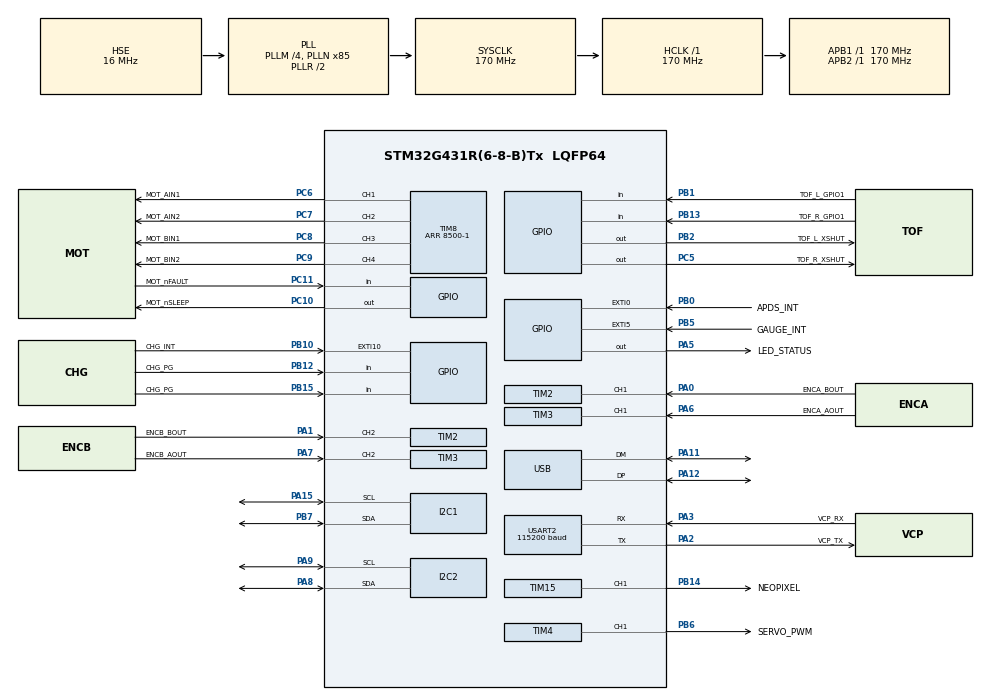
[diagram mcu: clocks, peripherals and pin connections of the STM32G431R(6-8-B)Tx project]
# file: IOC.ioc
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Dma.Request0=TIM15_CH1
Dma.TIM15_CH1.0.Direction=DMA_MEMORY_TO_PERIPH
Dma.TIM15_CH1.0.EventEnable=DISABLE
Dma.TIM15_CH1.0.Instance=DMA1_Channel1
Dma.TIM15_CH1.0.MemDataAlignment=DMA_MDATAALIGN_HALFWORD
Dma.TIM15_CH1.0.MemInc=DMA_MINC_ENABLE
Dma.TIM15_CH1.0.Mode=DMA_NORMAL
Dma.TIM15_CH1.0.PeriphDataAlignment=DMA_PDATAALIGN_HALFWORD
Dma.TIM15_CH1.0.PeriphInc=DMA_PINC_DISABLE
Dma.TIM15_CH1.0.Polarity=HAL_DMAMUX_REQ_GEN_RISING
Dma.TIM15_CH1.0.Priority=DMA_PRIORITY_LOW
Dma.TIM15_CH1.0.RequestNumber=1
Dma.TIM15_CH1.0.SignalID=NONE
Dma.TIM15_CH1.0.SyncEnable=DISABLE
Dma.TIM15_CH1.0.SyncPolarity=HAL_DMAMUX_SYNC_NO_EVENT
Dma.TIM15_CH1.0.SyncRequestNumber=1
Dma.TIM15_CH1.0.SyncSignalID=NONE
I2C1.Timing=0x40B285C2
I2C2.Timing=0x40B285C2
Mcu.Family=STM32G4
Mcu.Name=STM32G431R(6-8-B)Tx
Mcu.Package=LQFP64
NUCLEO-G431RB.BUTTON=0
NUCLEO-G431RB.LD1=false
NUCLEO-G431RB.VCP=false
NVIC.DMA1_Channel1_IRQn=true\:0\:0\:false\:false\:true\:false\:true\:true
NVIC.EXTI15_10_IRQn=true\:0\:0\:false\:false\:true\:false\:true\:true
NVIC.PriorityGroup=NVIC_PRIORITYGROUP_4
PA0.GPIO_Label=ENCA_BOUT
PA0.Signal=S_TIM2_CH1
PA1.GPIO_Label=ENCB_BOUT
PA1.Signal=S_TIM2_CH2
PA11.Mode=Device
PA11.Signal=USB_DM
PA12.Mode=Device
PA12.Signal=USB_DP
PA13.GPIO_Label=T_SWDIO
PA13.Mode=Trace_Asynchronous_SW
PA13.Signal=SYS_JTMS-SWDIO
PA14.GPIO_Label=T_SWCLK
PA14.Mode=Trace_Asynchronous_SW
PA14.Signal=SYS_JTCK-SWCLK
PA15.Mode=I2C
PA15.Signal=I2C1_SCL
PA2.GPIO_Label=VCP_TX
PA2.Mode=Asynchronous
PA2.Signal=USART2_TX
PA3.GPIO_Label=VCP_RX
PA3.Mode=Asynchronous
PA3.Signal=USART2_RX
PA5.GPIO_Label=LED_STATUS
PA5.Signal=GPIO_Output
PA6.GPIO_Label=ENCA_AOUT
PA6.Signal=S_TIM3_CH1
PA7.GPIO_Label=ENCB_AOUT
PA7.Signal=S_TIM3_CH2
PA8.Mode=I2C
PA8.Signal=I2C2_SDA
PA9.Mode=I2C
PA9.Signal=I2C2_SCL
PB0.GPIO_Label=APDS_INT
PB0.Signal=GPXTI0
PB1.GPIO_Label=TOF_L_GPIO1
PB1.Signal=GPIO_Input
PB10.GPIO_Label=CHG_INT
PB10.Signal=GPXTI10
PB12.GPIO_Label=CHG_PG
PB12.Signal=GPIO_Input
PB13.GPIO_Label=TOF_R_GPIO1
PB13.Signal=GPIO_Input
PB14.GPIO_Label=NEOPIXEL
PB14.Signal=S_TIM15_CH1
PB15.GPIO_Label=CHG_PG
PB15.Signal=GPIO_Input
PB2.GPIO_Label=TOF_L_XSHUT
PB2.Signal=GPIO_Output
PB3.GPIO_Label=T_SWO
PB3.Mode=Trace_Asynchronous_SW
PB3.Signal=SYS_JTDO-SWO
PB5.GPIO_Label=GAUGE_INT
PB5.Signal=GPXTI5
PB6.GPIO_Label=SERVO_PWM
PB6.Signal=S_TIM4_CH1
PB7.Mode=I2C
PB7.Signal=I2C1_SDA
PC10.GPIO_Label=MOT_nSLEEP
PC10.Signal=GPIO_Output
PC11.GPIO_Label=MOT_nFAULT
PC11.Signal=GPIO_Input
PC5.GPIO_Label=TOF_R_XSHUT
PC5.Signal=GPIO_Output
PC6.GPIO_Label=MOT_AIN1
PC6.Signal=S_TIM8_CH1
PC7.GPIO_Label=MOT_AIN2
PC7.Signal=S_TIM8_CH2
PC8.GPIO_Label=MOT_BIN1
PC8.Signal=S_TIM8_CH3
PC9.GPIO_Label=MOT_BIN2
PC9.Signal=S_TIM8_CH4
PF0-OSC_IN.GPIO_Label=RCC_OSC_IN
PF0-OSC_IN.Mode=HSE-External-Oscillator
PF0-OSC_IN.Signal=RCC_OSC_IN
PF1-OSC_OUT.GPIO_Label=RCC_OSC_OUT
PF1-OSC_OUT.Mode=HSE-External-Oscillator
PF1-OSC_OUT.Signal=RCC_OSC_OUT
ProjectManager.HeapSize=0x200
ProjectManager.StackSize=0x400
ProjectManager.TargetToolchain=CMake
RCC.ADC12Freq_Value=170000000
RCC.AHBFreq_Value=170000000
RCC.APB1Freq_Value=170000000
RCC.APB1TimFreq_Value=170000000
RCC.APB2Freq_Value=170000000
RCC.APB2TimFreq_Value=170000000
RCC.CK48CLockSelection=RCC_USBCLKSOURCE_HSI48
RCC.CortexFreq_Value=170000000
RCC.EXTERNAL_CLOCK_VALUE=12288000
RCC.HCLKFreq_Value=170000000
RCC.HSE_VALUE=16000000
RCC.HSI48_VALUE=48000000
RCC.HSI_VALUE=16000000
RCC.LSE_VALUE=32768
RCC.PLLM=RCC_PLLM_DIV4
RCC.PLLN=85
RCC.PLLSourceVirtual=RCC_PLLSOURCE_HSE
RCC.RTCClockSelection=RCC_RTCCLKSOURCE_LSE
RCC.SYSCLKFreq_VALUE=170000000
RCC.SYSCLKSource=RCC_SYSCLKSOURCE_PLLCLK
RCC.USART2CLockSelection=RCC_USART2CLKSOURCE_HSI
RCC.USBFreq_Value=48000000
RCC.VCOOutputFreq_Value=340000000
SH.S_TIM15_CH1.0=TIM15_CH1,PWM Generation1 CH1
SH.S_TIM2_CH1.0=TIM2_CH1,Encoder_Interface
SH.S_TIM2_CH2.0=TIM2_CH2,Encoder_Interface
SH.S_TIM3_CH1.0=TIM3_CH1,Encoder_Interface
SH.S_TIM3_CH2.0=TIM3_CH2,Encoder_Interface
SH.S_TIM4_CH1.0=TIM4_CH1,PWM Generation1 CH1
SH.S_TIM8_CH1.0=TIM8_CH1,PWM Generation1 CH1
SH.S_TIM8_CH2.0=TIM8_CH2,PWM Generation2 CH2
SH.S_TIM8_CH3.0=TIM8_CH3,PWM Generation3 CH3
SH.S_TIM8_CH4.0=TIM8_CH4,PWM Generation4 CH4
TIM15.Channel-PWM\ Generation1\ CH1=TIM_CHANNEL_1
TIM4.Channel-PWM\ Generation1\ CH1=TIM_CHANNEL_1
TIM4.PeriodNoDither=20000-1
TIM4.Prescaler=170-1
TIM8.Channel-PWM\ Generation1\ CH1=TIM_CHANNEL_1
TIM8.Channel-PWM\ Generation2\ CH2=TIM_CHANNEL_2
TIM8.Channel-PWM\ Generation3\ CH3=TIM_CHANNEL_3
TIM8.Channel-PWM\ Generation4\ CH4=TIM_CHANNEL_4
TIM8.PeriodNoDither=8500-1
USART2.BaudRate=115200
USART2.VirtualMode-Asynchronous=VM_ASYNC
VP_NUCLEO-G431RB_VS_BSP_COMMON.Mode=COMMON
VP_RCC_VS_USB.Mode=USB_FS
VP_SYS_VS_DBSignals.Mode=DisableDeadBatterySignals
VP_TIM15_VS_ClockSourceINT.Mode=Internal
VP_TIM8_VS_ClockSourceINT.Mode=Internal
board=NUCLEO-G431RB

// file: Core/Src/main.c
/* USER CODE BEGIN Header */
/**
 ******************************************************************************
 * @file           : main.c
 * @brief          : Main program body
 ******************************************************************************
 * @attention
 *
 * Copyright (c) 2026 STMicroelectronics.
 * All rights reserved.
 *
 * This software is licensed under terms that can be found in the LICENSE file
 * in the root directory of this software component.
 * If no LICENSE file comes with this software, it is provided AS-IS.
 *
 ******************************************************************************
 */
/* USER CODE END Header */
#include "main.h"
#include "dma.h"
#include "i2c.h"
#include "tim.h"
#include "usart.h"
#include "usb.h"
#include "gpio.h"

/* USER CODE BEGIN Includes */
#include "adafruit_APDS9960.h"
#include <stdio.h>
#include <string.h>
/* USER CODE END Includes */

/* USER CODE BEGIN PV */
APDS9960_Handle_t apds;

volatile HAL_StatusTypeDef i2c_status;
volatile uint8_t chip_id = 0;

// Détection de proximité
volatile uint8_t prox_val = 0;

// Détection de couleurs
volatile uint16_t r_val = 0;
volatile uint16_t g_val = 0;
volatile uint16_t b_val = 0;
volatile uint16_t clear_val = 0;

volatile float r_percent = 0.0;
volatile float g_percent = 0.0;
volatile float b_percent = 0.0;

// Code couleur détecté : 0 = Aucune, 1 = Rouge, 2 = Bleu, 3 = Vert
volatile uint8_t detected_color = 0;

/* USER CODE END PV */

void SystemClock_Config(void);

/* USER CODE BEGIN 0 */
int __io_putchar(int ch)
{
    uint8_t c = (uint8_t)ch;
    HAL_UART_Transmit(&huart2, &c, 1, HAL_MAX_DELAY);
    return ch;
}

/*static void uart_print(const char *s) {
	HAL_UART_Transmit(&huart2, (uint8_t*) s, strlen(s), 100);
}*/

/* USER CODE END 0 */

int main(void)
{

  /* MCU Configuration--------------------------------------------------------*/

  /* Reset of all peripherals, Initializes the Flash interface and the Systick. */
  HAL_Init();

  /* Configure the system clock */
  SystemClock_Config();

  /* Initialize all configured peripherals */
  MX_GPIO_Init();
  MX_DMA_Init();
  MX_I2C1_Init();
  MX_TIM2_Init();
  MX_I2C2_Init();
  MX_TIM3_Init();
  MX_TIM4_Init();
  MX_TIM8_Init();
  MX_TIM15_Init();
  MX_USB_PCD_Init();
  MX_USART2_UART_Init();
  /* USER CODE BEGIN 2 */

  // Vérification si le composant répond sur le bus I2C2
  i2c_status = HAL_I2C_IsDeviceReady(&hi2c2, APDS9960_ADDRESS, 3, 100);
  if (i2c_status != HAL_OK) {
	  printf("ERREUR : Problème avec la connexion i2c\r\n");
  } else {
	  printf("Connexion i2c établie !\r\n");
  }

  // Initialisation du capteur apds
  if (!APDS9960_Begin(&apds, &hi2c2, 10, APDS9960_AGAIN_4X)) {
	  printf("ERREUR : Problème d'initialisation de l'APDS-9960 (ID inconnu ou échec I2C).\r\n");
  } else {
	  printf("SUCCÈS : APDS-9960 initialisé avec succès (ID = 0xAB).\r\n");
  }

  // Lire le registre d'identification (ID = 0x92, valeur attendue = 0xAB)
  HAL_I2C_Mem_Read(&hi2c2, APDS9960_ADDRESS, 0x92, I2C_MEMADD_SIZE_8BIT,
		  (uint8_t*) &chip_id, 1, 100);

  // Configuration de la proximité (8 impulsions de 16 µs, gain xX)
  APDS9960_SetProxPulse(&apds, APDS9960_PPULSELEN_16US, 8);
  APDS9960_SetProxGain(&apds, APDS9960_PGAIN_8X);

  // Activation des modules Proximité et Couleur
  APDS9960_EnableProximity(&apds, true);
  APDS9960_EnableColor(&apds, true);

  HAL_Delay(10);

  /* USER CODE END 2 */

  /* Infinite loop */
  /* USER CODE BEGIN WHILE */
  while (1) {

	  // Lecture valeur de proximite
	  prox_val = APDS9960_ReadProximity(&apds);
	  printf("Valeur proximite : %d \r\n", (int)prox_val);

	  // Traitement des couleurs si une canette est proche
	  if (prox_val > 50) {
		  if (APDS9960_ColorDataReady(&apds)) {

			  // Lecture des 4 canaux RGB + Clear (Luminosite)
			  APDS9960_GetColorData(&apds, (uint16_t*)&r_val,
					  (uint16_t*)&g_val,
					  (uint16_t*)&b_val,
					  (uint16_t*)&clear_val);

			  // Calcul des pourcentages relatifs
			  uint32_t total = r_val + g_val + b_val;
			  if (total > 0) {
				  r_percent = ((float)r_val / total) * 100.0f;
				  g_percent = ((float)g_val / total) * 100.0f;
				  b_percent = ((float)b_val / total) * 100.0f;
			  }

			  // Décision basée sur la couleur dominante
			  if (r_percent > g_percent && r_percent > b_percent && r_percent > 38.0f) {
				  detected_color = 1; // Rouge (Rouge prédominant)
			  }
			  else if (b_percent > r_percent && b_percent > g_percent && b_percent > 35.0f) {
				  detected_color = 2; // Bleu (Bleu prédominant)
			  }
			  else if (g_percent > r_percent && g_percent > b_percent) {
				  detected_color = 3; // Vert (Vert supérieur au Rouge ET au Bleu)
			  }
			  else {
				  detected_color = 0; // Inconnu
			  }
		  }
	  } else {
		  detected_color = 0; // Aucun objet proche
	  }

	  printf("R: %2.0f%% | G: %2.0f%% | B: %2.0f%% | Struct: %d\r\n",
	         r_percent, g_percent, b_percent, detected_color);
	  HAL_Delay(500);
	  /* USER CODE END WHILE */

  }
}

void SystemClock_Config(void)
{
  RCC_OscInitTypeDef RCC_OscInitStruct = {0};
  RCC_ClkInitTypeDef RCC_ClkInitStruct = {0};
  RCC_CRSInitTypeDef pInit = {0};

  /** Configure the main internal regulator output voltage
  */
  HAL_PWREx_ControlVoltageScaling(PWR_REGULATOR_VOLTAGE_SCALE1_BOOST);

  /** Initializes the RCC Oscillators according to the specified parameters
  * in the RCC_OscInitTypeDef structure.
  */
  RCC_OscInitStruct.OscillatorType = RCC_OSCILLATORTYPE_HSI|RCC_OSCILLATORTYPE_HSI48
                              |RCC_OSCILLATORTYPE_HSE;
  RCC_OscInitStruct.HSEState = RCC_HSE_ON;
  RCC_OscInitStruct.HSIState = RCC_HSI_ON;
  RCC_OscInitStruct.HSICalibrationValue = RCC_HSICALIBRATION_DEFAULT;
  RCC_OscInitStruct.HSI48State = RCC_HSI48_ON;
  RCC_OscInitStruct.PLL.PLLState = RCC_PLL_ON;
  RCC_OscInitStruct.PLL.PLLSource = RCC_PLLSOURCE_HSE;
  RCC_OscInitStruct.PLL.PLLM = RCC_PLLM_DIV4;
  RCC_OscInitStruct.PLL.PLLN = 85;
  RCC_OscInitStruct.PLL.PLLP = RCC_PLLP_DIV2;
  RCC_OscInitStruct.PLL.PLLQ = RCC_PLLQ_DIV2;
  RCC_OscInitStruct.PLL.PLLR = RCC_PLLR_DIV2;
  if (HAL_RCC_OscConfig(&RCC_OscInitStruct) != HAL_OK)
  {
    Error_Handler();
  }

  /** Initializes the CPU, AHB and APB buses clocks
  */
  RCC_ClkInitStruct.ClockType = RCC_CLOCKTYPE_HCLK|RCC_CLOCKTYPE_SYSCLK
                              |RCC_CLOCKTYPE_PCLK1|RCC_CLOCKTYPE_PCLK2;
  RCC_ClkInitStruct.SYSCLKSource = RCC_SYSCLKSOURCE_PLLCLK;
  RCC_ClkInitStruct.AHBCLKDivider = RCC_SYSCLK_DIV1;
  RCC_ClkInitStruct.APB1CLKDivider = RCC_HCLK_DIV1;
  RCC_ClkInitStruct.APB2CLKDivider = RCC_HCLK_DIV1;

  if (HAL_RCC_ClockConfig(&RCC_ClkInitStruct, FLASH_LATENCY_4) != HAL_OK)
  {
    Error_Handler();
  }

  /** Enable the SYSCFG APB clock
  */
  __HAL_RCC_CRS_CLK_ENABLE();

  /** Configures CRS
  */
  pInit.Prescaler = RCC_CRS_SYNC_DIV1;
  pInit.Source = RCC_CRS_SYNC_SOURCE_USB;
  pInit.Polarity = RCC_CRS_SYNC_POLARITY_RISING;
  pInit.ReloadValue = __HAL_RCC_CRS_RELOADVALUE_CALCULATE(48000000,1000);
  pInit.ErrorLimitValue = 34;
  pInit.HSI48CalibrationValue = 32;

  HAL_RCCEx_CRSConfig(&pInit);
}

void Error_Handler(void)
{
	__disable_irq();
	while (1) {
	}
}
